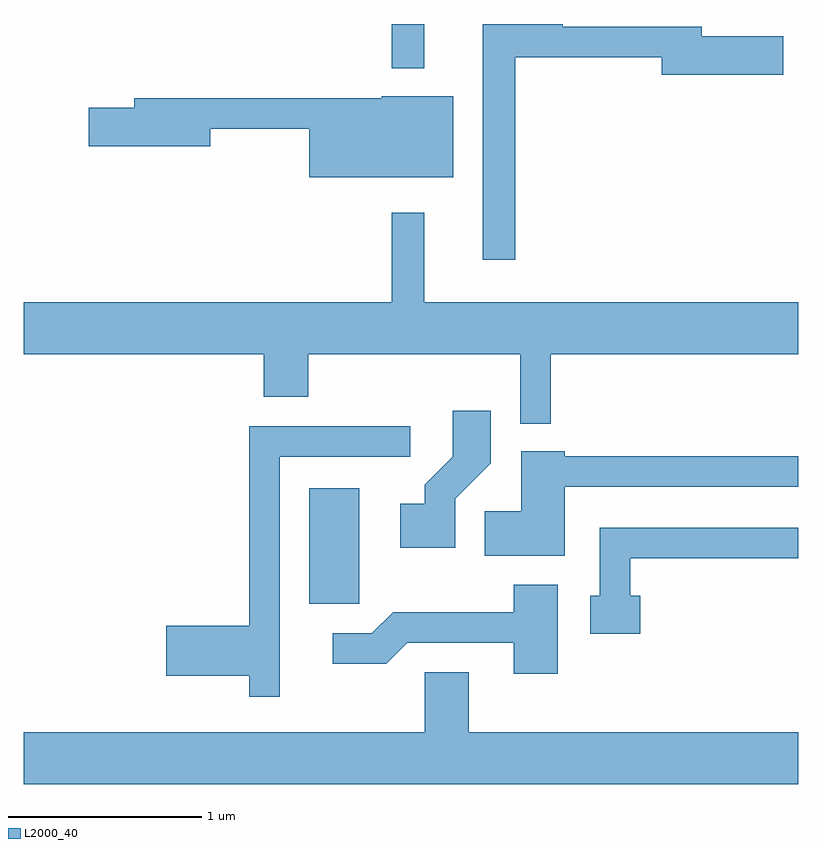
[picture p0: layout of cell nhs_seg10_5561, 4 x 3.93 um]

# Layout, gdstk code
import gdstk
lib = gdstk.Library(unit=1e-6, precision=1e-09)
def R(c, l, rs):  # rectangles x0, y0, x1, y1
    for r in rs: c.add(gdstk.rectangle(r[:2], r[2:], *l))
def P(c, l, *ps):  # polygons
    for p in ps: c.add(gdstk.Polygon(p, *l))
L2000_40 = (2000, 40)

nhs_seg10_5561 = lib.new_cell('nhs_seg10_5561')
R(nhs_seg10_5561, L2000_40, [(351.086,2101.526,351.344,2102.124), (351.511,2104.293,351.679,2104.522)])
P(nhs_seg10_5561, L2000_40, [(352.149,2104.351),(352.906,2104.351),(352.906,2104.261),(353.534,2104.261),(353.534,2104.459),(353.114,2104.459),(353.114,2104.509),(352.394,2104.509),(352.394,2104.522),(351.981,2104.522),(351.981,2103.303),(352.149,2103.303)],
  [(351.829,2104.149),(351.46,2104.149),(351.46,2104.139),(350.181,2104.139),(350.181,2104.089),(349.946,2104.089),(349.946,2103.891),(350.574,2103.891),(350.574,2103.981),(351.086,2103.981),(351.086,2103.731),(351.829,2103.731)],
  [(352.334,2102.816),(353.611,2102.816),(353.611,2103.084),(351.679,2103.084),(351.679,2103.548),(351.511,2103.548),(351.511,2103.084),(349.611,2103.084),(349.611,2102.816),(350.851,2102.816),(350.851,2102.596),(351.079,2102.596),(351.079,2102.816),(352.176,2102.816),(352.176,2102.458),(352.334,2102.458)],
  [(351.839,2102.069),(352.024,2102.254),(352.024,2102.524),(351.826,2102.524),(351.826,2102.287),(351.681,2102.142),(351.681,2102.044),(351.556,2102.044),(351.556,2101.816),(351.839,2101.816)],
  [(350.934,2102.286),(351.608,2102.286),(351.608,2102.444),(350.776,2102.444),(350.776,2101.414),(350.346,2101.414),(350.346,2101.156),(350.776,2101.156),(350.776,2101.048),(350.934,2101.048)],
  [(352.404,2102.131),(353.611,2102.131),(353.611,2102.289),(352.404,2102.289),(352.404,2102.314),(352.181,2102.314),(352.181,2102.004),(351.991,2102.004),(351.991,2101.776),(352.404,2101.776)],
  [(352.794,2101.569),(352.744,2101.569),(352.744,2101.761),(353.611,2101.761),(353.611,2101.919),(352.586,2101.919),(352.586,2101.569),(352.536,2101.569),(352.536,2101.371),(352.794,2101.371)],
  [(352.369,2101.624),(352.141,2101.624),(352.141,2101.484),(351.519,2101.484),(351.409,2101.374),(351.208,2101.374),(351.208,2101.216),(351.482,2101.216),(351.592,2101.326),(352.141,2101.326),(352.141,2101.166),(352.369,2101.166)],
  [(353.611,2100.864),(351.909,2100.864),(351.909,2101.174),(351.681,2101.174),(351.681,2100.864),(349.611,2100.864),(349.611,2100.596),(353.611,2100.596)])

lib.write_gds('nhs_seg10_5561.gds')
